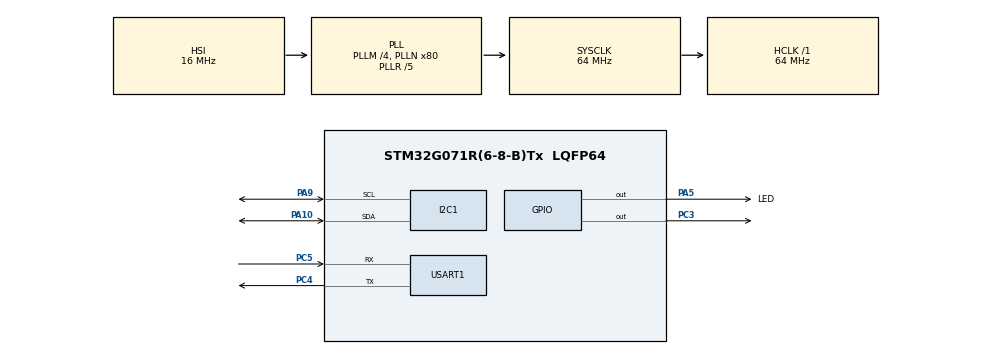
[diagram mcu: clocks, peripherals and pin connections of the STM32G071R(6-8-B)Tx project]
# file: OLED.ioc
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I2C1.Timing=0x10707DBC
Mcu.Family=STM32G0
Mcu.Name=STM32G071R(6-8-B)Tx
Mcu.Package=LQFP64
NVIC.I2C1_IRQn=true\:0\:0\:false\:false\:true\:true\:true
NVIC.USART1_IRQn=true\:0\:0\:false\:false\:true\:true\:true
PA10.Mode=I2C
PA10.Signal=I2C1_SDA
PA5.GPIO_Label=LED
PA5.Signal=GPIO_Output
PA9.Mode=I2C
PA9.Signal=I2C1_SCL
PC3.Signal=GPIO_Output
PC4.Mode=Asynchronous
PC4.Signal=USART1_TX
PC5.Mode=Asynchronous
PC5.Signal=USART1_RX
ProjectManager.HeapSize=0x200
ProjectManager.StackSize=0x400
ProjectManager.TargetToolchain=STM32CubeIDE
RCC.ADCFreq_Value=64000000
RCC.AHBFreq_Value=64000000
RCC.CortexFreq_Value=64000000
RCC.EXTERNAL_CLOCK_VALUE=48000
RCC.HCLKFreq_Value=64000000
RCC.HSE_VALUE=8000000
RCC.HSI_VALUE=16000000
RCC.LSE_VALUE=32768
RCC.PLLM=RCC_PLLM_DIV4
RCC.PLLN=80
RCC.PLLR=RCC_PLLR_DIV5
RCC.SYSCLKFreq_VALUE=64000000
RCC.SYSCLKSource=RCC_SYSCLKSOURCE_PLLCLK
RCC.USART1CLockSelection=RCC_USART1CLKSOURCE_SYSCLK
RCC.VCOOutputFreq_Value=320000000
USART1.VirtualMode-Asynchronous=VM_ASYNC
VP_SYS_VS_DBSignals.Mode=DisableDeadBatterySignals
board=custom

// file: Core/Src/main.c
/* USER CODE BEGIN Header */
/**
  ******************************************************************************
  * @file           : main.c
  * @brief          : Main program body
  ******************************************************************************
  * @attention
  *
  * <h2><center>&copy; Copyright (c) 2020 STMicroelectronics.
  * All rights reserved.</center></h2>
  *
  * This software component is licensed by ST under BSD 3-Clause license,
  * the "License"; You may not use this file except in compliance with the
  * License. You may obtain a copy of the License at:
  *                        opensource.org/licenses/BSD-3-Clause
  *
  ******************************************************************************
  */
/* USER CODE END Header */
#include "main.h"
#include "i2c.h"
#include "usart.h"
#include "gpio.h"

/* USER CODE BEGIN Includes */
#include "oled.h"
#include "bmp.h"

#include "u8x8.h"
#include "u8g2.h"

/* USER CODE END Includes */

/* USER CODE BEGIN PTD */
#define DEVICE_ADDRESS 	0x3C				///OLED的IIC器件地址
/* USER CODE END PTD */

/* USER CODE BEGIN PV */
u8g2_t u8g2;
/* USER CODE END PV */

void SystemClock_Config(void);

/* USER CODE BEGIN 0 */
uint8_t u8x8_stm32_gpio_and_delay(U8X8_UNUSED u8x8_t *u8x8,
    U8X8_UNUSED uint8_t msg, U8X8_UNUSED uint8_t arg_int,
    U8X8_UNUSED void *arg_ptr)
{
  switch (msg)
  {
//		case U8X8_MSG_GPIO_SPI_DATA:
//			(arg_int)?SET_BIT(GPIOB->ODR,OLED_DI_Pin):CLEAR_BIT(GPIOB->ODR,OLED_DI_Pin);
//			break;
//		case U8X8_MSG_GPIO_SPI_CLOCK:
//			(arg_int)?SET_BIT(GPIOB->ODR,OLED_DO_Pin):CLEAR_BIT(GPIOB->ODR,OLED_DO_Pin);
//			break;
		case U8X8_MSG_GPIO_AND_DELAY_INIT:
					OLED_Init();
					HAL_Delay(1);
			break;
		case U8X8_MSG_DELAY_MILLI:					//延时
			HAL_Delay(arg_int);
			break;

///<软件IIC模式
//		case U8X8_MSG_GPIO_CS:
//				(arg_int)?SET_BIT(GPIOA->ODR,OLED_CS_Pin):CLEAR_BIT(GPIOA->ODR,OLED_CS_Pin);
//		case U8X8_MSG_GPIO_DC:
//					(arg_int)?SET_BIT(GPIOB->ODR,OLED_DC_Pin):CLEAR_BIT(GPIOB->ODR,OLED_DC_Pin);
//			break;
//		case U8X8_MSG_GPIO_RESET:
//					(arg_int)?SET_BIT(GPIOB->ODR,OLED_RES_Pin):CLEAR_BIT(GPIOB->ODR,OLED_RES_Pin);
//			break;

//		case U8X8_MSG_GPIO_I2C_DATA:			// arg_int=0: Output low at I2C data pin
//					(arg_int)?SET_BIT(GPIOC->ODR,GPIO_PIN_2):CLEAR_BIT(GPIOC->ODR,GPIO_PIN_2);
//			 break;
//	  	case U8X8_MSG_GPIO_I2C_CLOCK:		// arg_int=0: Output low at I2C clock pin
//	  				(arg_int)?SET_BIT(GPIOC->ODR,GPIO_PIN_3):CLEAR_BIT(GPIOC->ODR,GPIO_PIN_3);
//	  		break;

  }
  return 1;
}

///硬件IIC对应的驱动处理函数
uint8_t u8x8_byte_i2c(u8x8_t *u8x8, uint8_t msg, uint8_t arg_int, void *arg_ptr)
{
  static uint8_t buffer[32];		/* u8g2/u8x8 will never send more than 32 bytes between START_TRANSFER and END_TRANSFER */
  static uint8_t buf_idx;
  uint8_t *data;

  switch(msg)
  {
    case U8X8_MSG_BYTE_SEND:
      data = (uint8_t *)arg_ptr;
      while( arg_int > 0 )
      {
	buffer[buf_idx++] = *data;
	data++;
	arg_int--;
      }
      break;
    case U8X8_MSG_BYTE_INIT:
      /* add your custom code to init i2c subsystem */
      break;
    case U8X8_MSG_BYTE_SET_DC:
      /* ignored for i2c */
      break;
	case U8X8_MSG_BYTE_START_TRANSFER:
			buf_idx = 0;
	      break;
	case U8X8_MSG_BYTE_END_TRANSFER:
	    	HAL_I2C_Master_Transmit(&hi2c1, (DEVICE_ADDRESS << 1), buffer, buf_idx, 1000);
	      break;
    default:
      return 0;
  }
  return 1;
}
/* USER CODE END 0 */

int main(void)
{
  /* USER CODE BEGIN 1 */
  char clock[5] = {0};
  int min = 0;
  int sec = 0;
  /* USER CODE END 1 */

  /* MCU Configuration--------------------------------------------------------*/

  /* Reset of all peripherals, Initializes the Flash interface and the Systick. */
  HAL_Init();

  /* Configure the system clock */
  SystemClock_Config();

  /* Initialize all configured peripherals */
  MX_GPIO_Init();
  MX_USART1_UART_Init();
  MX_I2C1_Init();
  /* USER CODE BEGIN 2 */
  printf("OLED 0.96' TEST...\r\n");

  HAL_GPIO_WritePin(GPIOC,GPIO_PIN_3,GPIO_PIN_RESET);		///OLED RST
  HAL_Delay(1);
  HAL_GPIO_WritePin(GPIOC,GPIO_PIN_3,GPIO_PIN_SET);
  HAL_Delay(1);

#if 0					///<OLED测试
  OLED_Init();
  OLED_Clear();
  OLED_DrawBMP(0, 0, 128, 8,BMP1);
#else
  //==================U8g2============================
  u8g2_Setup_ssd1306_i2c_128x64_noname_f(&u8g2, U8G2_R0, u8x8_byte_i2c,  u8x8_stm32_gpio_and_delay);			///硬件IIC
  //u8g2_Setup_ssd1306_i2c_128x64_noname_f(&u8g2, U8G2_R0, u8x8_byte_sw_i2c,  u8x8_stm32_gpio_and_delay);		///软件模拟IIC
  u8g2_InitDisplay(&u8g2);

  u8g2_ClearDisplay(&u8g2);					//清屏
  u8g2_SetPowerSave(&u8g2, 0);

  u8g2_SetFont(&u8g2, u8g2_font_osb35_tr);	//设置字体

#endif

  /* USER CODE END 2 */

  /* Infinite loop */
  /* USER CODE BEGIN WHILE */
  while (1)
  {
	 printf("Hello world\r\n");

	 u8g2_FirstPage(&u8g2);
	 do {
			 sec++;
			 if(sec>59)
			 {
				 sec = 0;
				 min++;

			 }

			 if(min > 59)
			 {
				 sec = 0;
				 min = 0;

			 }

			 sprintf(clock,"%02d:%02d",min,sec);
			 u8g2_DrawStr(&u8g2,0, 44,clock);
	 } while ( u8g2_NextPage(&u8g2) );
    /* USER CODE END WHILE */

  }
}

void SystemClock_Config(void)
{
  RCC_OscInitTypeDef RCC_OscInitStruct = {0};
  RCC_ClkInitTypeDef RCC_ClkInitStruct = {0};
  RCC_PeriphCLKInitTypeDef PeriphClkInit = {0};

  /** Configure the main internal regulator output voltage
  */
  HAL_PWREx_ControlVoltageScaling(PWR_REGULATOR_VOLTAGE_SCALE1);
  /** Initializes the RCC Oscillators according to the specified parameters
  * in the RCC_OscInitTypeDef structure.
  */
  RCC_OscInitStruct.OscillatorType = RCC_OSCILLATORTYPE_HSI;
  RCC_OscInitStruct.HSIState = RCC_HSI_ON;
  RCC_OscInitStruct.HSIDiv = RCC_HSI_DIV1;
  RCC_OscInitStruct.HSICalibrationValue = RCC_HSICALIBRATION_DEFAULT;
  RCC_OscInitStruct.PLL.PLLState = RCC_PLL_ON;
  RCC_OscInitStruct.PLL.PLLSource = RCC_PLLSOURCE_HSI;
  RCC_OscInitStruct.PLL.PLLM = RCC_PLLM_DIV4;
  RCC_OscInitStruct.PLL.PLLN = 80;
  RCC_OscInitStruct.PLL.PLLP = RCC_PLLP_DIV2;
  RCC_OscInitStruct.PLL.PLLQ = RCC_PLLQ_DIV2;
  RCC_OscInitStruct.PLL.PLLR = RCC_PLLR_DIV5;
  if (HAL_RCC_OscConfig(&RCC_OscInitStruct) != HAL_OK)
  {
    Error_Handler();
  }
  /** Initializes the CPU, AHB and APB buses clocks
  */
  RCC_ClkInitStruct.ClockType = RCC_CLOCKTYPE_HCLK|RCC_CLOCKTYPE_SYSCLK
                              |RCC_CLOCKTYPE_PCLK1;
  RCC_ClkInitStruct.SYSCLKSource = RCC_SYSCLKSOURCE_PLLCLK;
  RCC_ClkInitStruct.AHBCLKDivider = RCC_SYSCLK_DIV1;
  RCC_ClkInitStruct.APB1CLKDivider = RCC_HCLK_DIV1;

  if (HAL_RCC_ClockConfig(&RCC_ClkInitStruct, FLASH_LATENCY_2) != HAL_OK)
  {
    Error_Handler();
  }
  /** Initializes the peripherals clocks
  */
  PeriphClkInit.PeriphClockSelection = RCC_PERIPHCLK_USART1|RCC_PERIPHCLK_I2C1;
  PeriphClkInit.Usart1ClockSelection = RCC_USART1CLKSOURCE_SYSCLK;
  PeriphClkInit.I2c1ClockSelection = RCC_I2C1CLKSOURCE_PCLK1;
  if (HAL_RCCEx_PeriphCLKConfig(&PeriphClkInit) != HAL_OK)
  {
    Error_Handler();
  }
}

void Error_Handler(void)
{
}

/************************ (C) COPYRIGHT STMicroelectronics *****END OF FILE****/
